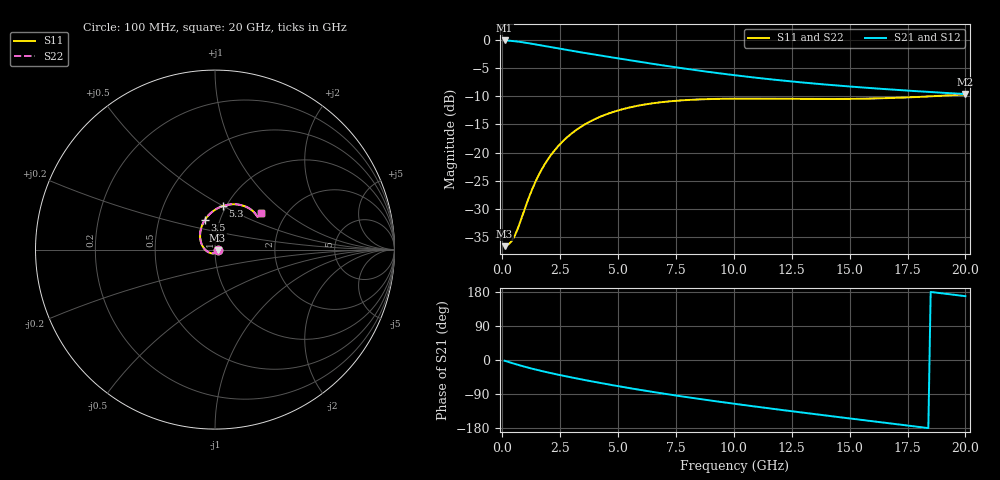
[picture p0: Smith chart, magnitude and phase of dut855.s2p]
! Touchstone file exported from HFSS 2024.1.0
!  File:  C:/UserFiles/LocalFiles/RDL_TSV_Batchsim/temp_RDL_TSV_855_1779923923.aedt
!  Generated:  07:33:24 AM May 28, 2026
!  Design:  RDL_TSV
!  Project:  temp_RDL_TSV_855_1779923923
!  Setup:  Setup1
!  Solution:  Sweep
! Variables:
!  dtsv = 14.46um
!  hbump = 3um
!  htsv = 79.72um
!  ldown = 335.77um
!  lrdl = 375.24um
!  p = 40
!  p1 = 59.19um
!  rhole = 10um
!  subl = 2508.27um
!  t = 450um
!  tdown = 3.16um
!  trdl = 2.38um
!  viad = 10um
!  wdown = 26.27um
!  wrdl = 22.42um
!  xbump = 18um
# GHz S MA R 50.000000
! Terminal data exported
! Port[1] = TM1_1_T1
! Port[2] = TM1_4_T1
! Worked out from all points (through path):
!   200 points, 100 MHz to 20 GHz, reference 50 ohm
!   highest |S21| = -0.14 dB at 100 MHz (marker M1); lowest = -9.6 dB at 20 GHz (marker M2)
!   group delay of S21, straight-line fit = 24.8 ps
!   lowest |S11| = -36.5 dB at 100 MHz (marker M3), VSWR 1.03, Z = 51.5 - j0.385 ohm
!   |S11| at or under -10 dB: start of sweep to 18.63 GHz
!   |S22| runs from -36.5 to -9.7 dB; largest |S21 - S12| = 1.4e-14
!   S11 on the Smith chart (normalised r, x): 100 MHz: 1.03, -0.01; 3.5 GHz: 0.85, +0.29; 5.3 GHz: 0.96, +0.50; 20 GHz: 1.50, +0.69
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0.1  0.01488 -14.5  0.9845 -2.0  0.9845 -2.0  0.01488 -14.5
! Gamma 0 0 0 0
! Port Impedance 50 0 50 0
0.3  0.01565 -45.3  0.9795 -5.8  0.9795 -5.8  0.01565 -45.3
0.5  0.01778 -78.1  0.9711 -9.5  0.9711 -9.5  0.01777 -78.2
0.7  0.02213 -109.1  0.9603 -13.1  0.9603 -13.1  0.02212 -109.2
1.1  0.03768 -154.9  0.9333 -19.9  0.9333 -19.9  0.0377 -155.0
1.3  0.04791 -170.8  0.9184 -23.1  0.9184 -23.1  0.04794 -170.9
1.6  0.06494 170.5  0.8955 -27.6  0.8955 -27.6  0.065 170.4
1.9  0.083 156.0  0.8728 -31.9  0.8728 -31.9  0.08308 155.9
2.2  0.1013 144.1  0.851 -36.0  0.851 -36.0  0.1014 144.0
2.6  0.1254 131.0  0.8233 -41.2  0.8233 -41.2  0.1255 131.0
3  0.1483 120.2  0.7973 -46.1  0.7973 -46.1  0.1485 120.2
3.5  0.1747 108.9  0.7666 -52.2  0.7666 -52.2  0.1749 108.8
4.3  0.211 94.3  0.7208 -61.3  0.7208 -61.3  0.2112 94.2
5.3  0.2458 80.1  0.6681 -72.2  0.6681 -72.2  0.2461 80.1
6.8  0.2788 64.7  0.5982 -87.2  0.5982 -87.2  0.2791 64.6
8.4  0.2955 53.3  0.5359 -101.8  0.5359 -101.8  0.2958 53.3
10.1  0.3007 45.4  0.4829 -116.2  0.4829 -116.2  0.3011 45.4
11.7  0.3002 40.8  0.4435 -129.0  0.4435 -129.0  0.3005 40.9
13.4  0.2986 38.4  0.4103 -142.1  0.4103 -142.1  0.299 38.4
15  0.2993 37.6  0.3852 -154.2  0.3852 -154.2  0.2997 37.7
16.7  0.3043 37.8  0.3634 -167.0  0.3634 -167.0  0.3047 37.8
20  0.3279 38.4  0.3303 168.4  0.3303 168.4  0.3284 38.4
